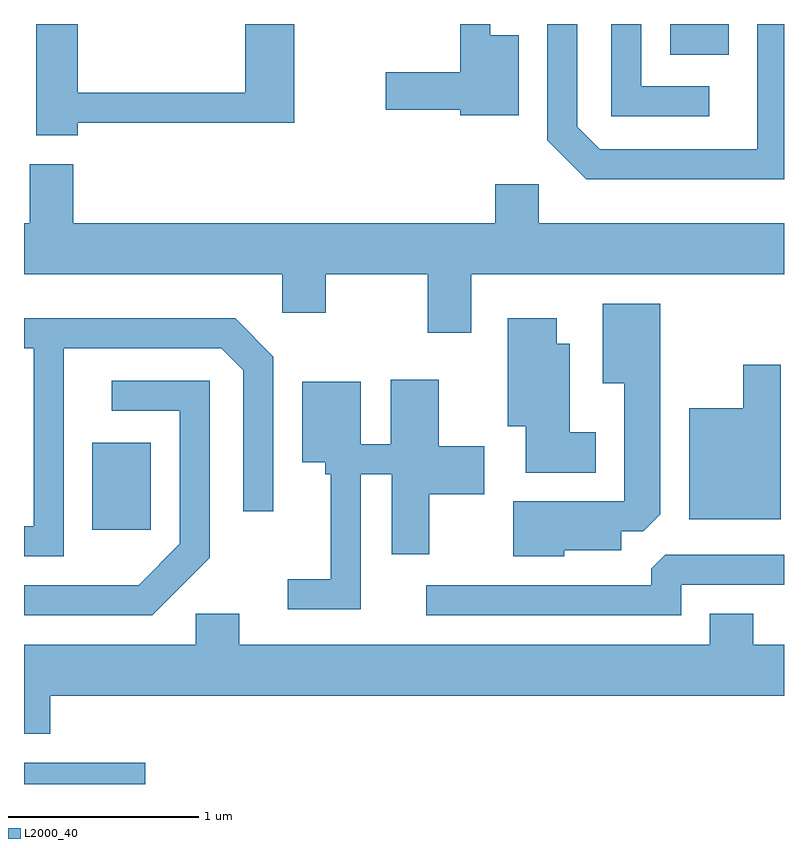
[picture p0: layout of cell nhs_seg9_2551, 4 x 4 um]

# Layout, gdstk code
import gdstk
lib = gdstk.Library(unit=1e-6, precision=1e-09)
def R(c, l, rs):  # rectangles x0, y0, x1, y1
    for r in rs: c.add(gdstk.rectangle(r[:2], r[2:], *l))
def P(c, l, *ps):  # polygons
    for p in ps: c.add(gdstk.Polygon(p, *l))
L2000_40 = (2000, 40)

nhs_seg9_2551 = lib.new_cell('nhs_seg9_2551')
R(nhs_seg9_2551, L2000_40, [(259.611,2022.432,260.248,2022.544), (259.971,2023.771,260.279,2024.229), (263.011,2026.271,263.319,2026.432)])
P(nhs_seg9_2551, L2000_40, [(263.218,2026.104),(262.859,2026.104),(262.859,2026.432),(262.701,2026.432),(262.701,2025.946),(263.218,2025.946)],
  [(259.894,2025.911),(261.034,2025.911),(261.034,2026.432),(260.776,2026.432),(260.776,2026.069),(259.894,2026.069),(259.894,2026.432),(259.676,2026.432),(259.676,2025.846),(259.894,2025.846)],
  [(263.611,2026.432),(263.471,2026.432),(263.471,2025.774),(262.642,2025.774),(262.524,2025.892),(262.524,2026.432),(262.366,2026.432),(262.366,2025.819),(262.569,2025.616),(263.611,2025.616)],
  [(262.214,2026.374),(262.064,2026.374),(262.064,2026.432),(261.906,2026.432),(261.906,2026.179),(261.516,2026.179),(261.516,2025.981),(261.906,2025.981),(261.906,2025.951),(262.214,2025.951)],
  [(261.964,2025.116),(263.611,2025.116),(263.611,2025.384),(262.319,2025.384),(262.319,2025.589),(262.091,2025.589),(262.091,2025.384),(259.869,2025.384),(259.869,2025.694),(259.641,2025.694),(259.641,2025.384),(259.611,2025.384),(259.611,2025.116),(260.971,2025.116),(260.971,2024.911),(261.199,2024.911),(261.199,2025.116),(261.736,2025.116),(261.736,2024.806),(261.964,2024.806)],
  [(262.454,2023.661),(262.754,2023.661),(262.754,2023.761),(262.869,2023.761),(262.959,2023.852),(262.959,2024.959),(262.656,2024.959),(262.656,2024.541),(262.771,2024.541),(262.771,2023.919),(262.186,2023.919),(262.186,2023.631),(262.454,2023.631)],
  [(259.819,2024.726),(260.649,2024.726),(260.766,2024.609),(260.766,2023.868),(260.924,2023.868),(260.924,2024.682),(260.722,2024.884),(259.611,2024.884),(259.611,2024.726),(259.661,2024.726),(259.661,2023.789),(259.611,2023.789),(259.611,2023.631),(259.819,2023.631)],
  [(262.619,2024.284),(262.484,2024.284),(262.484,2024.749),(262.414,2024.749),(262.414,2024.884),(262.156,2024.884),(262.156,2024.316),(262.251,2024.316),(262.251,2024.071),(262.619,2024.071)],
  [(263.594,2024.639),(263.396,2024.639),(263.396,2024.409),(263.111,2024.409),(263.111,2023.826),(263.594,2023.826)],
  [(261.384,2024.061),(261.546,2024.061),(261.546,2023.641),(261.744,2023.641),(261.744,2023.956),(262.034,2023.956),(262.034,2024.209),(261.794,2024.209),(261.794,2024.559),(261.541,2024.559),(261.541,2024.219),(261.384,2024.219),(261.384,2024.549),(261.076,2024.549),(261.076,2024.126),(261.196,2024.126),(261.196,2024.061),(261.226,2024.061),(261.226,2023.509),(260.998,2023.509),(260.998,2023.351),(261.384,2023.351)],
  [(260.589,2023.624),(260.589,2024.554),(260.073,2024.554),(260.073,2024.396),(260.431,2024.396),(260.431,2023.697),(260.214,2023.479),(259.611,2023.479),(259.611,2023.321),(260.287,2023.321)],
  [(263.069,2023.481),(263.611,2023.481),(263.611,2023.639),(262.987,2023.639),(262.911,2023.564),(262.911,2023.479),(261.728,2023.479),(261.728,2023.321),(263.069,2023.321)],
  [(259.749,2022.896),(263.611,2022.896),(263.611,2023.164),(263.449,2023.164),(263.449,2023.329),(263.221,2023.329),(263.221,2023.164),(260.744,2023.164),(260.744,2023.329),(260.516,2023.329),(260.516,2023.164),(259.611,2023.164),(259.611,2022.696),(259.749,2022.696)])

lib.write_gds('nhs_seg9_2551.gds')
